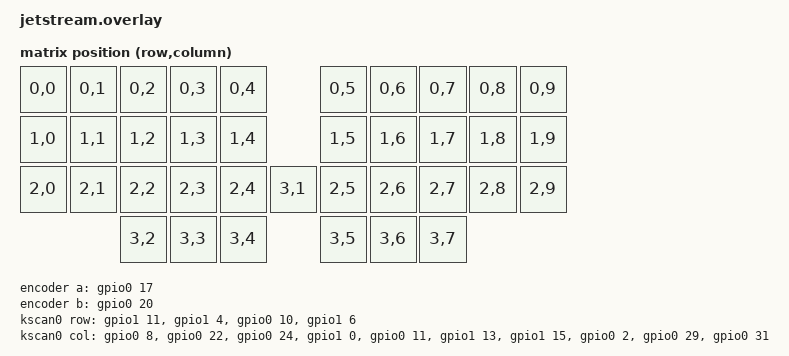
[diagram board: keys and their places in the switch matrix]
/*
 * Copyright (c) 2023 The ZMK Contributors
 *
 * SPDX-License-Identifier: MIT
 */

#include <dt-bindings/zmk/matrix_transform.h>

/ {
    chosen {
        zmk,kscan = &kscan0;
        zmk,matrix_transform = &default_transform;
    };

    encoder: encoder {
		compatible = "alps,ec11";
        a-gpios = <&gpio0 17 (GPIO_ACTIVE_HIGH | GPIO_PULL_UP)>;
        b-gpios = <&gpio0 20 (GPIO_ACTIVE_HIGH | GPIO_PULL_UP)>;
        steps = <80>;
    };

    sensors {
		compatible = "zmk,keymap-sensors";
        sensors = <&encoder>;
        triggers-per-rotation = <20>;
    };

    kscan0: kscan_0 {
        compatible = "zmk,kscan-gpio-matrix";
        wakeup-source;
        
        diode-direction = "col2row";

        col-gpios
            = <&gpio0 8  GPIO_ACTIVE_HIGH> // col1
            , <&gpio0 22 GPIO_ACTIVE_HIGH> // col2
            , <&gpio0 24 GPIO_ACTIVE_HIGH> // col3
            , <&gpio1 0  GPIO_ACTIVE_HIGH> // col4
            , <&gpio0 11 GPIO_ACTIVE_HIGH> // col5
            , <&gpio1 13 GPIO_ACTIVE_HIGH> // col6
            , <&gpio1 15 GPIO_ACTIVE_HIGH> // col7
            , <&gpio0 2  GPIO_ACTIVE_HIGH> // col8
            , <&gpio0 29 GPIO_ACTIVE_HIGH> // col9
            , <&gpio0 31 GPIO_ACTIVE_HIGH> // col10
            ;

        row-gpios
            = <&gpio1 11 (GPIO_ACTIVE_HIGH | GPIO_PULL_DOWN)> // row1
            , <&gpio1 4  (GPIO_ACTIVE_HIGH | GPIO_PULL_DOWN)> // row2
            , <&gpio0 10 (GPIO_ACTIVE_HIGH | GPIO_PULL_DOWN)> // row3
            , <&gpio1 6  (GPIO_ACTIVE_HIGH | GPIO_PULL_DOWN)> // row4
            ;
    };

    default_transform: keymap_transform_0 {
        compatible = "zmk,matrix-transform";
        columns = <10>;
        rows = <4>;
        map = <
          RC(0,0)  RC(0,1)  RC(0,2)  RC(0,3)  RC(0,4)           RC(0,5)  RC(0,6)  RC(0,7)  RC(0,8) RC(0,9)
          RC(1,0)  RC(1,1)  RC(1,2)  RC(1,3)  RC(1,4)           RC(1,5)  RC(1,6)  RC(1,7)  RC(1,8) RC(1,9)
          RC(2,0)  RC(2,1)  RC(2,2)  RC(2,3)  RC(2,4)  RC(3,1)  RC(2,5)  RC(2,6)  RC(2,7)  RC(2,8) RC(2,9)  
                            RC(3,2)  RC(3,3)  RC(3,4)           RC(3,5)  RC(3,6)  RC(3,7)  
        >;
    };
    
};

